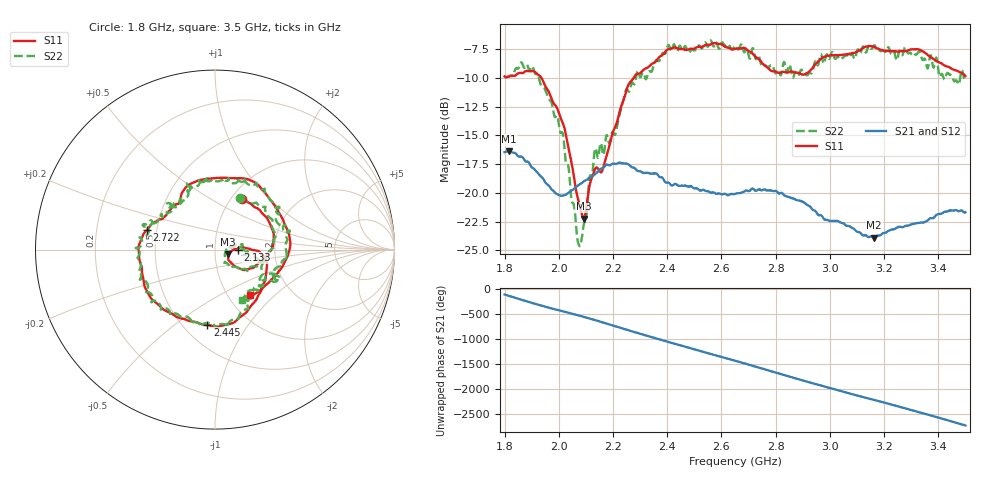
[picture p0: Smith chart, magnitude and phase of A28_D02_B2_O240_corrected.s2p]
! Created with skrf 1.9.0 (http://scikit-rf.org).
# Hz S RI R 50.0
!freq ReS11 ImS11 ReS21 ImS21 ReS12 ImS12 ReS22 ImS22
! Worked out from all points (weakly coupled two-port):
!   1601 points, 1.8 GHz to 3.5 GHz, reference 50 ohm
!   highest |S21| = -16.39 dB at 1.817 GHz (marker M1); lowest = -23.9 dB at 3.163 GHz (marker M2)
!   lowest |S11| = -22.3 dB at 2.091 GHz (marker M3), VSWR 1.17, Z = 57.9 - j2.76 ohm
!   |S11| at or under -10 dB: 1.936 GHz to 2.276 GHz (340.1 MHz wide, 16.1 % of centre)
!   |S22| runs from -24.6 to -6.7 dB; largest |S21 - S12| = 0.0026
!   S11 on the Smith chart (normalised r, x): 1.8 GHz: 1.12, +0.71; 2.133 GHz: 1.29, -0.01; 2.445 GHz: 0.65, -0.66; 2.722 GHz: 0.44, +0.11; 3.5 GHz: 1.26, -0.72
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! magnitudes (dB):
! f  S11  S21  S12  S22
! 1.8 GHz  -9.9  -16.5  -16.5  -10.0
! 1.817 GHz  -9.8  -16.4  -16.4  -9.9
! 1.902 GHz  -9.4  -17.8  -17.8  -9.0
! 1.968 GHz  -11.5  -19.5  -19.6  -12.0
! 2.021 GHz  -14.4  -20.2  -20.2  -16.2
! 2.071 GHz  -20.5  -19.4  -19.4  -24.3
! 2.084 GHz  -21.7  -19.2  -19.1  -24.0
! 2.091 GHz  -22.3  -19.0  -19.1  -22.9
! 2.133 GHz  -18.0  -18.4  -18.4  -16.3
! 2.162 GHz  -17.9  -17.8  -17.8  -16.6
! 2.209 GHz  -14.2  -17.5  -17.4  -14.9
! 2.26 GHz  -10.5  -17.6  -17.6  -11.2
! 2.367 GHz  -8.3  -18.5  -18.5  -8.5
! 2.445 GHz  -7.5  -19.4  -19.4  -7.2
! 2.65 GHz  -7.5  -20.1  -20.1  -7.3
! 2.722 GHz  -8.1  -19.8  -19.7  -8.0
! 2.808 GHz  -9.5  -20.0  -19.9  -9.4
! 2.934 GHz  -9.2  -21.4  -21.4  -9.6
! 3.163 GHz  -7.3  -23.9  -23.9  -7.2
! 3.217 GHz  -7.7  -23.3  -23.3  -7.4
! 3.328 GHz  -7.5  -22.6  -22.6  -7.7
! 3.5 GHz  -9.8  -21.7  -21.7  -10.0
